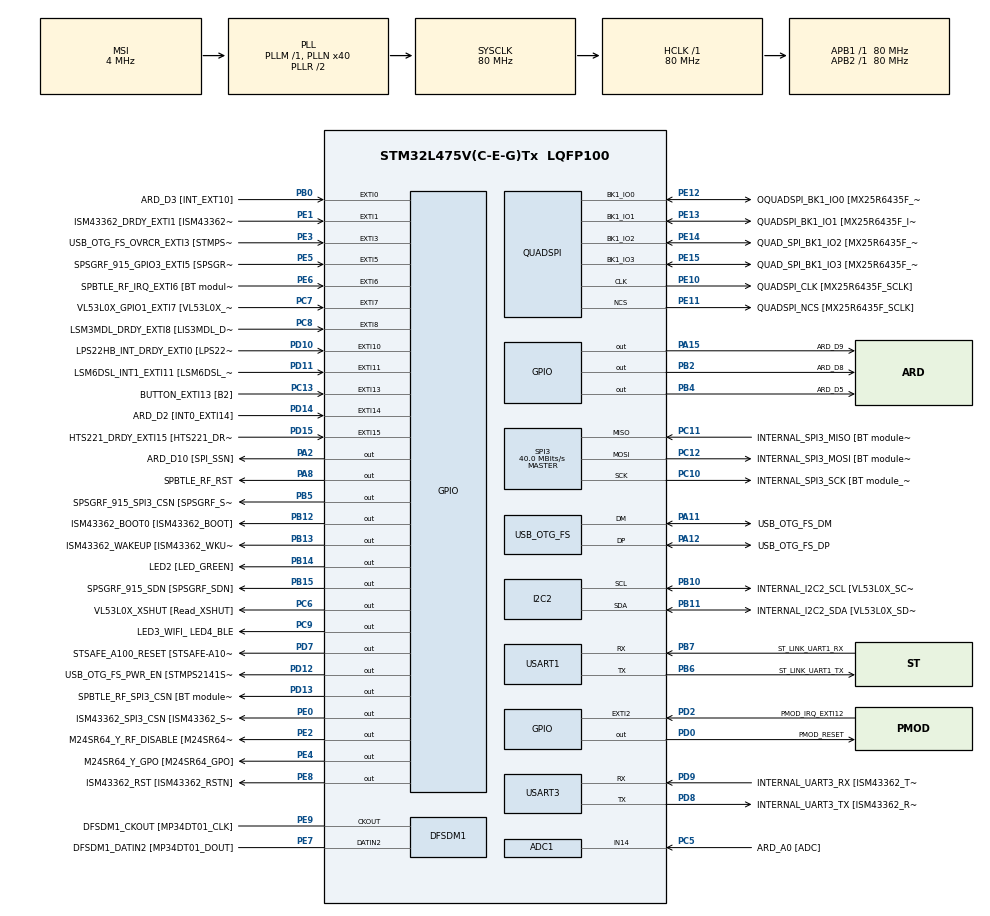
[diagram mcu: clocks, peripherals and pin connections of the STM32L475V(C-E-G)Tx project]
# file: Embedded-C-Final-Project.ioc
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ADC1.Channel-0\#ChannelRegularConversion=ADC_CHANNEL_14
ADC1.NbrOfConversionFlag=1
ADC1.OffsetNumber-0\#ChannelRegularConversion=ADC_OFFSET_NONE
ADC1.Rank-0\#ChannelRegularConversion=1
ADC1.SamplingTime-0\#ChannelRegularConversion=ADC_SAMPLETIME_2CYCLES_5
ADC1.master=1
Dma.I2C2_RX.0.Direction=DMA_PERIPH_TO_MEMORY
Dma.I2C2_RX.0.Instance=DMA1_Channel5
Dma.I2C2_RX.0.MemDataAlignment=DMA_MDATAALIGN_BYTE
Dma.I2C2_RX.0.MemInc=DMA_MINC_ENABLE
Dma.I2C2_RX.0.Mode=DMA_NORMAL
Dma.I2C2_RX.0.PeriphDataAlignment=DMA_PDATAALIGN_BYTE
Dma.I2C2_RX.0.PeriphInc=DMA_PINC_DISABLE
Dma.I2C2_RX.0.Priority=DMA_PRIORITY_LOW
Dma.I2C2_TX.1.Direction=DMA_MEMORY_TO_PERIPH
Dma.I2C2_TX.1.Instance=DMA1_Channel4
Dma.I2C2_TX.1.MemDataAlignment=DMA_MDATAALIGN_BYTE
Dma.I2C2_TX.1.MemInc=DMA_MINC_ENABLE
Dma.I2C2_TX.1.Mode=DMA_NORMAL
Dma.I2C2_TX.1.PeriphDataAlignment=DMA_PDATAALIGN_BYTE
Dma.I2C2_TX.1.PeriphInc=DMA_PINC_DISABLE
Dma.I2C2_TX.1.Priority=DMA_PRIORITY_LOW
Dma.Request0=I2C2_RX
Dma.Request1=I2C2_TX
I2C2.Timing=0x10909CEC
Mcu.Family=STM32L4
Mcu.Name=STM32L475V(C-E-G)Tx
Mcu.Package=LQFP100
NVIC.ADC1_2_IRQn=true\:0\:0\:false\:false\:true\:true\:true\:true
NVIC.DMA1_Channel4_IRQn=true\:0\:0\:false\:false\:true\:false\:true\:true
NVIC.DMA1_Channel5_IRQn=true\:0\:0\:false\:false\:true\:false\:true\:true
NVIC.EXTI15_10_IRQn=true\:0\:0\:false\:false\:true\:true\:true\:true
NVIC.EXTI9_5_IRQn=true\:0\:0\:false\:false\:true\:true\:true\:true
NVIC.I2C2_EV_IRQn=true\:0\:0\:false\:false\:true\:true\:true\:true
NVIC.PriorityGroup=NVIC_PRIORITYGROUP_4
PA0.GPIO_Label=ARD_D1 [UART4_TX]
PA0.Signal=UART4_TX
PA1.GPIO_Label=ARD_D0 [UART4_RX]
PA1.Signal=UART4_RX
PA10.GPIO_Label=USB_OTG_FS_ID
PA10.Signal=USB_OTG_FS_ID
PA11.GPIO_Label=USB_OTG_FS_DM
PA11.Mode=Device_Only
PA11.Signal=USB_OTG_FS_DM
PA12.GPIO_Label=USB_OTG_FS_DP
PA12.Mode=Device_Only
PA12.Signal=USB_OTG_FS_DP
PA13\ (JTMS-SWDIO).GPIO_Label=SYS_JTMS_SWDIO
PA13\ (JTMS-SWDIO).Mode=Serial_Wire
PA13\ (JTMS-SWDIO).Signal=SYS_JTMS-SWDIO
PA14\ (JTCK-SWCLK).GPIO_Label=SYS_JTCK_SWCLK
PA14\ (JTCK-SWCLK).Mode=Serial_Wire
PA14\ (JTCK-SWCLK).Signal=SYS_JTCK-SWCLK
PA15\ (JTDI).GPIO_Label=ARD_D9
PA15\ (JTDI).Signal=GPIO_Output
PA2.GPIO_Label=ARD_D10 [SPI_SSN]
PA2.Signal=GPIO_Output
PA3.GPIO_Label=ARD_D4
PA3.Signal=S_TIM2_CH4
PA4.GPIO_Label=ARD_D7
PA4.Signal=ADCx_IN9
PA5.GPIO_Label=ARD_D13 [SPI1_SCK]
PA5.Signal=SPI1_SCK
PA6.GPIO_Label=ARD_D12 [SPI1_MISO]
PA6.Signal=SPI1_MISO
PA7.GPIO_Label=ARD_D11 [SPI1_MOSI]
PA7.Signal=SPI1_MOSI
PA8.GPIO_Label=SPBTLE_RF_RST
PA8.Signal=GPIO_Output
PA9.GPIO_Label=USB_OTG_FS_VBUS [STMPS2141STR_OUT]
PA9.Signal=USB_OTG_FS_VBUS
PB0.GPIO_Label=ARD_D3 [INT_EXT10]
PB0.Signal=GPXTI0
PB1.GPIO_Label=ARD_D6 [ADC1_IN6]
PB1.Signal=ADCx_IN16
PB10.GPIO_Label=INTERNAL_I2C2_SCL [VL53L0X_SCL]
PB10.GPIO_Pu=GPIO_PULLUP
PB10.Mode=I2C
PB10.Signal=I2C2_SCL
PB11.GPIO_Label=INTERNAL_I2C2_SDA [VL53L0X_SDA]
PB11.GPIO_Pu=GPIO_PULLUP
PB11.Mode=I2C
PB11.Signal=I2C2_SDA
PB12.GPIO_Label=ISM43362_BOOT0 [ISM43362_BOOT]
PB12.Signal=GPIO_Output
PB13.GPIO_Label=ISM43362_WAKEUP [ISM43362_WKUP]
PB13.Signal=GPIO_Output
PB14.GPIO_Label=LED2 [LED_GREEN]
PB14.Signal=GPIO_Output
PB15.GPIO_Label=SPSGRF_915_SDN [SPSGRF_SDN]
PB15.Signal=GPIO_Output
PB2.GPIO_Label=ARD_D8
PB2.Signal=GPIO_Output
PB3\ (JTDO-TRACESWO).GPIO_Label=SYS_JTD0_SWO
PB3\ (JTDO-TRACESWO).Signal=SYS_JTDO-SWO
PB4\ (NJTRST).GPIO_Label=ARD_D5
PB4\ (NJTRST).Signal=GPIO_Output
PB5.GPIO_Label=SPSGRF_915_SPI3_CSN [SPSGRF_SPI_CS]
PB5.PinState=GPIO_PIN_SET
PB5.Signal=GPIO_Output
PB6.GPIO_Label=ST_LINK_UART1_TX
PB6.Mode=Asynchronous
PB6.Signal=USART1_TX
PB7.GPIO_Label=ST_LINK_UART1_RX
PB7.Mode=Asynchronous
PB7.Signal=USART1_RX
PB8.GPIO_Label=ARD_D15 [I2C1_SCL]
PB8.Signal=I2C1_SCL
PB9.GPIO_Label=ARD_D14 [I2C1_SDA]
PB9.Signal=I2C1_SDA
PC0.GPIO_Label=ARD_A5 [ADC]
PC0.Signal=ADCx_IN1
PC1.GPIO_Label=ARD_A4 [ADC]
PC1.Signal=ADCx_IN2
PC10.GPIO_Label=INTERNAL_SPI3_SCK [BT module_SPI_SCLK] [ISM43362_SCK]
PC10.Mode=Full_Duplex_Master
PC10.Signal=SPI3_SCK
PC11.GPIO_Label=INTERNAL_SPI3_MISO [BT module_SPI_MISO] [ISM43362_MISO]
PC11.Mode=Full_Duplex_Master
PC11.Signal=SPI3_MISO
PC12.GPIO_Label=INTERNAL_SPI3_MOSI [BT module_SPI_MOSI] [ISM43362_MOSI]
PC12.Mode=Full_Duplex_Master
PC12.Signal=SPI3_MOSI
PC13.GPIO_Label=BUTTON_EXTI13 [B2]
PC13.GPIO_ModeDefaultEXTI=GPIO_MODE_IT_FALLING
PC13.Signal=GPXTI13
PC14-OSC32_IN\ (PC14).Mode=LSE-External-Oscillator
PC14-OSC32_IN\ (PC14).Signal=RCC_OSC32_IN
PC15-OSC32_OUT\ (PC15).Mode=LSE-External-Oscillator
PC15-OSC32_OUT\ (PC15).Signal=RCC_OSC32_OUT
PC2.GPIO_Label=ARD_A3 [ADC]
PC2.Signal=ADCx_IN3
PC3.GPIO_Label=ARD_A2 [ADC]
PC3.Signal=ADCx_IN4
PC4.GPIO_Label=ARD_A1 [ADC]
PC4.Signal=ADCx_IN13
PC5.GPIO_Label=ARD_A0 [ADC]
PC5.Signal=ADCx_IN14
PC6.GPIO_Label=VL53L0X_XSHUT [Read_XSHUT]
PC6.Signal=GPIO_Output
PC7.GPIO_Label=VL53L0X_GPIO1_EXTI7 [VL53L0X_GPIO1]
PC7.Signal=GPXTI7
PC8.GPIO_Label=LSM3MDL_DRDY_EXTI8 [LIS3MDL_DRDY]
PC8.Signal=GPXTI8
PC9.GPIO_Label=LED3_WIFI_ LED4_BLE
PC9.Signal=GPIO_Output
PD0.GPIO_Label=PMOD_RESET
PD0.Signal=GPIO_Output
PD1.GPIO_Label=PMOD_SPI2_SCK
PD1.Signal=SPI2_SCK
PD10.GPIO_Label=LPS22HB_INT_DRDY_EXTI0 [LPS22HB_INT_DRDY] 
PD10.Signal=GPXTI10
PD11.GPIO_Label=LSM6DSL_INT1_EXTI11 [LSM6DSL_INT1]
PD11.Signal=GPXTI11
PD12.GPIO_Label=USB_OTG_FS_PWR_EN [STMPS2141STR_EN]
PD12.Signal=GPIO_Output
PD13.GPIO_Label=SPBTLE_RF_SPI3_CSN [BT module_SPI_CS]
PD13.PinState=GPIO_PIN_SET
PD13.Signal=GPIO_Output
PD14.GPIO_Label=ARD_D2 [INT0_EXTI14]
PD14.Signal=GPXTI14
PD15.GPIO_Label=HTS221_DRDY_EXTI15 [HTS221_DRDY]
PD15.Signal=GPXTI15
PD2.GPIO_Label=PMOD_IRQ_EXTI12
PD2.Signal=GPXTI2
PD3.GPIO_Label=PMOD_UART2_CTS
PD3.Signal=USART2_CTS
PD4.GPIO_Label=PMOD_UART2_RTS
PD4.Signal=USART2_RTS
PD5.GPIO_Label=PMOD_UART2_TX
PD5.Signal=USART2_TX
PD6.GPIO_Label=PMOD_UART2_RX
PD6.Signal=USART2_RX
PD7.GPIO_Label=STSAFE_A100_RESET [STSAFE-A100_RESET]
PD7.Signal=GPIO_Output
PD8.GPIO_Label=INTERNAL_UART3_TX [ISM43362_RX]
PD8.Mode=Asynchronous
PD8.Signal=USART3_TX
PD9.GPIO_Label=INTERNAL_UART3_RX [ISM43362_TX]
PD9.Mode=Asynchronous
PD9.Signal=USART3_RX
PE0.GPIO_Label=ISM43362_SPI3_CSN [ISM43362_SSN]
PE0.PinState=GPIO_PIN_SET
PE0.Signal=GPIO_Output
PE1.GPIO_Label=ISM43362_DRDY_EXTI1 [ISM43362_DATARDY]
PE1.Signal=GPXTI1
PE10.GPIO_Label=QUADSPI_CLK [MX25R6435F_SCLK]
PE10.Mode=Single Bank
PE10.Signal=QUADSPI_CLK
PE11.GPIO_Label=QUADSPI_NCS [MX25R6435F_SCLK]
PE11.Mode=Single Bank
PE11.Signal=QUADSPI_NCS
PE12.GPIO_Label=OQUADSPI_BK1_IO0 [MX25R6435F_IO0]
PE12.Mode=Single Bank
PE12.Signal=QUADSPI_BK1_IO0
PE13.GPIO_Label=QUADSPI_BK1_IO1 [MX25R6435F_IO1]
PE13.Mode=Single Bank
PE13.Signal=QUADSPI_BK1_IO1
PE14.GPIO_Label=QUAD_SPI_BK1_IO2 [MX25R6435F_IO2]
PE14.Mode=Single Bank
PE14.Signal=QUADSPI_BK1_IO2
PE15.GPIO_Label=QUAD_SPI_BK1_IO3 [MX25R6435F_IO3]
PE15.Mode=Single Bank
PE15.Signal=QUADSPI_BK1_IO3
PE2.GPIO_Label=M24SR64_Y_RF_DISABLE [M24SR64_RFDIS]
PE2.Signal=GPIO_Output
PE3.GPIO_Label=USB_OTG_FS_OVRCR_EXTI3 [STMPS2141STR_FAULT]
PE3.Signal=GPXTI3
PE4.GPIO_Label=M24SR64_Y_GPO [M24SR64_GPO]
PE4.Signal=GPIO_Output
PE5.GPIO_Label=SPSGRF_915_GPIO3_EXTI5 [SPSGRF_GPIO_3]
PE5.Signal=GPXTI5
PE6.GPIO_Label=SPBTLE_RF_IRQ_EXTI6 [BT module_SPI_IRQ]
PE6.Signal=GPXTI6
PE7.GPIO_Label=DFSDM1_DATIN2 [MP34DT01_DOUT]
PE7.Signal=S_DATAIN2DFSDM1
PE8.GPIO_Label=ISM43362_RST [ISM43362_RSTN]
PE8.Signal=GPIO_Output
PE9.GPIO_Label=DFSDM1_CKOUT [MP34DT01_CLK]
PE9.Signal=S_CKOUTDFSDM1
ProjectManager.HeapSize=0x200
ProjectManager.StackSize=0x400
ProjectManager.TargetToolchain=STM32CubeIDE
QUADSPI.ClockPrescaler=2
QUADSPI.FifoThreshold=4
QUADSPI.FlashSize=23
QUADSPI.SampleShifting=QSPI_SAMPLE_SHIFTING_HALFCYCLE
RCC.ADCFreq_Value=48000000
RCC.AHBFreq_Value=80000000
RCC.APB1Freq_Value=80000000
RCC.APB1TimFreq_Value=80000000
RCC.APB2Freq_Value=80000000
RCC.APB2TimFreq_Value=80000000
RCC.CortexFreq_Value=80000000
RCC.HCLKFreq_Value=80000000
RCC.HSE_VALUE=8000000
RCC.HSI_VALUE=16000000
RCC.MSI_VALUE=4000000
RCC.PLLN=40
RCC.PLLSAI1N=24
RCC.SYSCLKFreq_VALUE=80000000
RCC.SYSCLKSource=RCC_SYSCLKSOURCE_PLLCLK
RCC.USBFreq_Value=48000000
RCC.VCOOutputFreq_Value=160000000
SH.ADCx_IN1.0=ADC1_IN1
SH.ADCx_IN13.0=ADC1_IN13
SH.ADCx_IN14.0=ADC1_IN14,IN14-Single-Ended
SH.ADCx_IN16.0=ADC1_IN16
SH.ADCx_IN2.0=ADC1_IN2
SH.ADCx_IN3.0=ADC1_IN3
SH.ADCx_IN4.0=ADC1_IN4
SH.ADCx_IN9.0=ADC1_IN9
SH.S_CKOUTDFSDM1.0=DFSDM1_CKOUT,CKOUT
SH.S_CKOUTDFSDM1.1=DFSDM1_CKOUT,PDM_SPI_Input_from_ch12_and_Internal_Clock
SH.S_DATAIN2DFSDM1.0=DFSDM1_DATIN2,PDM_SPI_Input_from_ch12_and_Internal_Clock
SH.S_TIM2_CH4.0=TIM2_CH4
SPI3.CalculateBaudRate=40.0 MBits/s
SPI3.Direction=SPI_DIRECTION_2LINES
SPI3.Mode=SPI_MODE_MASTER
SPI3.VirtualType=VM_MASTER
USART1.VirtualMode-Asynchronous=VM_ASYNC
USART3.VirtualMode-Asynchronous=VM_ASYNC
USB_OTG_FS.VirtualMode=Device_Only
board=B-L475E-IOT01A2

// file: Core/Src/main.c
/* USER CODE BEGIN Header */
/**
  ******************************************************************************
  * @file           : main.c
  * @brief          : Main program body
  ******************************************************************************
  * @attention
  *
  * Copyright (c) 2023 STMicroelectronics.
  * All rights reserved.
  *
  * This software is licensed under terms that can be found in the LICENSE file
  * in the root directory of this software component.
  * If no LICENSE file comes with this software, it is provided AS-IS.
  *
  ******************************************************************************
  */
/* USER CODE END Header */
#include "main.h"

/* USER CODE BEGIN Includes */
#include <string.h>
#include <stdio.h>
/* USER CODE END Includes */

ADC_HandleTypeDef hadc1;

DFSDM_Channel_HandleTypeDef hdfsdm1_channel1;

I2C_HandleTypeDef hi2c2;
DMA_HandleTypeDef hdma_i2c2_rx;
DMA_HandleTypeDef hdma_i2c2_tx;

QSPI_HandleTypeDef hqspi;

SPI_HandleTypeDef hspi3;

UART_HandleTypeDef huart1;
UART_HandleTypeDef huart3;

PCD_HandleTypeDef hpcd_USB_OTG_FS;

void SystemClock_Config(void);
void PeriphCommonClock_Config(void);
static void MX_GPIO_Init(void);
static void MX_DMA_Init(void);
static void MX_DFSDM1_Init(void);
static void MX_I2C2_Init(void);
static void MX_QUADSPI_Init(void);
static void MX_SPI3_Init(void);
static void MX_USART1_UART_Init(void);
static void MX_USART3_UART_Init(void);
static void MX_USB_OTG_FS_PCD_Init(void);
static void MX_ADC1_Init(void);

/* USER CODE BEGIN 0 */
#define HST221_READ_ADDRESS 		0xbf
#define HST221_WRITE_ADDRESS 		0xbe

static uint8_t irq_complete = 0;
static uint8_t adc_irq_complete = 0;
static uint8_t status_flag = 0;
static uint16_t data = 0;
static uint8_t status_data = 0;

uint16_t find_max(uint16_t arr[], uint8_t size)
{
	int max = arr[0];
	for(int i = 0; i < size; i++){
		if(arr[i] > max){
			max = arr[i];
		}
	}
	return max;
}

uint16_t find_min(uint16_t arr[], uint8_t size)
{
	int min = arr[0];
	for(int i = 0; i < size; i++){
		if(arr[i] < min){
			min = arr[i];
		}
	}
	return min;
}

void do_who_am_i()
{
	// Step 1. send sub address
	// Write sub address
	uint8_t who_am_i = 0xf; // WHO_AM_I register
	HAL_StatusTypeDef status;
	status = HAL_I2C_Master_Transmit(&hi2c2, HST221_WRITE_ADDRESS, &who_am_i, sizeof(who_am_i), 1000);

	char buf[100];
	snprintf(buf, sizeof(buf), "HAL_I2C_Master_Transmit: status: %u\r\n", status);
	HAL_UART_Transmit(&huart1, (uint8_t*)buf, strlen(buf), 1000);

	// Step 2. read from address to get WHO_AM_I
	uint8_t data = 0x42;
	status = HAL_I2C_Master_Receive(&hi2c2, HST221_READ_ADDRESS, &data, sizeof(data), 1000);

	snprintf(buf, sizeof(buf), "HAL_I2C_Master_Receive: status: %u, data: 0x%x\r\n", status, data);
	HAL_UART_Transmit(&huart1, (uint8_t*)buf, strlen(buf), 1000);

}

void do_temp_polled()
{
	// Setup control register 1
	uint8_t control_reg1 = 0x20;
	uint8_t control_data1[] = {control_reg1, 0x85}; // output registers not updated until MSB and LSB reading, 1 Hz
	HAL_StatusTypeDef status;
	status = HAL_I2C_Master_Transmit(&hi2c2, HST221_WRITE_ADDRESS, control_data1, sizeof(control_data1), 1000);

	// Start a conversion
	uint8_t control_reg2 = 0x21;
	uint8_t control_data2[] = {control_reg2, 0x01};
	status = HAL_I2C_Master_Transmit(&hi2c2, HST221_WRITE_ADDRESS, control_data2, sizeof(control_data2), 1000);

	char buf[100];
	snprintf(buf, sizeof(buf), "(One-shot enable) HAL_I2C_Master_Transmit: status: %u\r\n", status);
	HAL_UART_Transmit(&huart1, (uint8_t*)buf, strlen(buf), 1000);

	// Wait for conversion complete
	uint8_t status_reg = 0x27;
	uint8_t status_data = 0;
	int count = 0;
	while(count < 10)
	{
		// Send read status register sub command
		status = HAL_I2C_Master_Transmit(&hi2c2, HST221_WRITE_ADDRESS, &status_reg, sizeof(status_reg), 1000);
		snprintf(buf, sizeof(buf), "[%d] (status_reg) HAL_I2C_Master_Transmit: status: %u\r\n", count, status);
		HAL_UART_Transmit(&huart1, (uint8_t*)buf, strlen(buf), 1000);

		// Read conversion status
		status = HAL_I2C_Master_Receive(&hi2c2, HST221_READ_ADDRESS, (uint8_t*)&status_data, sizeof(status_data), 1000);
		snprintf(buf, sizeof(buf), "Status register: 0x%02x\r\n", status_data);
		HAL_UART_Transmit(&huart1, (uint8_t*)buf, strlen(buf), 1000);

		// Check for temperature conversion complete
		if(status_data & 0x1)
		{
			snprintf(buf, sizeof(buf), "New data available!\r\n");
			HAL_UART_Transmit(&huart1, (uint8_t*)buf, strlen(buf), 1000);
			break;
		}
		HAL_Delay(1000);
		count++;
	}

	// Toggle between normal poll and address increment poll
	static int toggle = 1;

	if(toggle)
	{
		toggle = 0;

		// Read temperature LSB
		uint8_t temperature_lsb = 0x2a;
		status = HAL_I2C_Master_Transmit(&hi2c2, HST221_WRITE_ADDRESS, &temperature_lsb, sizeof(temperature_lsb), 1000);
		snprintf(buf, sizeof(buf), "(LSB) HAL_I2C_Master_Transmit: status: %u\r\n", status);
		HAL_UART_Transmit(&huart1, (uint8_t*)buf, strlen(buf), 1000);

		uint8_t data_lsb = 0x42;
		status = HAL_I2C_Master_Receive(&hi2c2, HST221_READ_ADDRESS, (uint8_t*)&data_lsb, sizeof(data_lsb), 1000);
		snprintf(buf, sizeof(buf), "(LSB) HAL_I2C_Master_Receive: status: %u, data_lsb: 0x%02x\r\n", status, data_lsb);
		HAL_UART_Transmit(&huart1, (uint8_t*)buf, strlen(buf), 1000);

		// Read temperature MSB
		uint8_t temperature_msb = 0x2b;
		status = HAL_I2C_Master_Transmit(&hi2c2, HST221_WRITE_ADDRESS, &temperature_msb, sizeof(temperature_msb), 1000);
		snprintf(buf, sizeof(buf), "(MSB) HAL_I2C_Master_Transmit: status: %u\r\n", status);
		HAL_UART_Transmit(&huart1, (uint8_t*)buf, strlen(buf), 1000);

		uint8_t data_msb = 0x42;
		status = HAL_I2C_Master_Receive(&hi2c2, HST221_READ_ADDRESS, (uint8_t*)&data_msb, sizeof(data_msb), 1000);
		snprintf(buf, sizeof(buf), "(MSB) HAL_I2C_Master_Receive: status: %u, data_msb: 0x%02x\r\n", status, data_msb);
		HAL_UART_Transmit(&huart1, (uint8_t*)buf, strlen(buf), 1000);
	}
	else
	{
		toggle = 1;
		// Read using auto increment
		uint8_t temperature_lsb = 0x2a | 0x80;
		status = HAL_I2C_Master_Transmit(&hi2c2, HST221_WRITE_ADDRESS, &temperature_lsb, sizeof(temperature_lsb), 1000);
		snprintf(buf, sizeof(buf), "(Auto increment) HAL_I2C_Master_Transmit: status: %u\r\n", status);
		HAL_UART_Transmit(&huart1, (uint8_t*)buf, strlen(buf), 1000);

		uint16_t data = 0x4242;
		status = HAL_I2C_Master_Receive(&hi2c2, HST221_READ_ADDRESS, (uint8_t*)&data, sizeof(data), 1000);
		snprintf(buf, sizeof(buf), "(Auto increment) HAL_I2C_Master_Receive: status: %u, data_msb: 0x%04x\r\n", status, data);
		HAL_UART_Transmit(&huart1, (uint8_t*)buf, strlen(buf), 1000);
	}

}

void do_temp_interrupt()
{
	irq_complete = 0;
	char buf[100];
	// Setup control register 1
	uint8_t control_reg1 = 0x20;
	uint8_t control_data1[] = {control_reg1, 0x85}; // output registers not updated until MSB and LSB reading, 1 Hz
	HAL_StatusTypeDef status;
	status = HAL_I2C_Master_Transmit_IT(&hi2c2, HST221_WRITE_ADDRESS, control_data1, sizeof(control_data1));
	snprintf(buf, sizeof(buf), "(Control register 1) HAL_I2C_Master_Transmit_IT: status: %u\r\n", status);
	HAL_UART_Transmit(&huart1, (uint8_t*)buf, strlen(buf), 1000);
	while(0 == irq_complete)
	{
		HAL_Delay(1000);
	}

	irq_complete = 0;
	// Start a conversion but interrupt driven
	int control_reg2 = 0x21;
	uint8_t control_data2[] = {control_reg2, 0x01}; // One-shot enable
	status = HAL_I2C_Master_Transmit_IT(&hi2c2, HST221_WRITE_ADDRESS, control_data2, sizeof(control_data2));
	snprintf(buf, sizeof(buf), "(One-shot Enable) HAL_I2C_Master_Transmit_IT: status: %u\r\n", status);
	HAL_UART_Transmit(&huart1, (uint8_t*)buf, strlen(buf), 1000);
	while(0 == irq_complete)
	{
		HAL_Delay(1000);
	}

	irq_complete = 0;
	// Wait for conversion complete
	uint8_t status_reg = 0x27;
	int count = 0;
	while(count < 10)
	{
		// Send read status register sub command
		status = HAL_I2C_Master_Transmit_IT(&hi2c2, HST221_WRITE_ADDRESS, &status_reg, sizeof(status_reg));
		snprintf(buf, sizeof(buf), "[%d] (status_reg) HAL_I2C_Master_Transmit_IT: status: %u\r\n", count, status);
		HAL_UART_Transmit(&huart1, (uint8_t*)buf, strlen(buf), 1000);
		while(0 == irq_complete)
		{
			HAL_Delay(1000);
		}

		irq_complete = 0;
		status_flag = 1;
		// Read conversion status
		status = HAL_I2C_Master_Receive_IT(&hi2c2, HST221_READ_ADDRESS, (uint8_t*)&status_data, sizeof(status_data));
		while(0 == irq_complete)
		{
			HAL_Delay(1000);
		}

		// Check for temperature conversion complete
		if(status_data & 0x1)
		{
			snprintf(buf, sizeof(buf), "New data available!\r\n");
			HAL_UART_Transmit(&huart1, (uint8_t*)buf, strlen(buf), 1000);
			break;
		}
		HAL_Delay(1000);
		count++;
	}

	irq_complete = 0;
	// Read using auto increment
	uint8_t temperature_lsb = 0x2a | 0x80;
	status = HAL_I2C_Master_Transmit_IT(&hi2c2, HST221_WRITE_ADDRESS, &temperature_lsb, sizeof(temperature_lsb));
	snprintf(buf, sizeof(buf), "(Auto increment) HAL_I2C_Master_Transmit_IT: status: %u\r\n", status);
	HAL_UART_Transmit(&huart1, (uint8_t*)buf, strlen(buf), 1000);
	while(0 == irq_complete)
	{
		HAL_Delay(1000);
	}

	irq_complete = 0;
	// Receive using interrupt
	status = HAL_I2C_Master_Receive_IT(&hi2c2, HST221_READ_ADDRESS, (uint8_t*)&data, sizeof(data));
	while(0 == irq_complete)
	{
		HAL_Delay(1000);
	}
	snprintf(buf, sizeof(buf), "(Auto increment) HAL_I2C_Master_Receive_IT: status: %u\r\n", status);
	HAL_UART_Transmit(&huart1, (uint8_t*)buf, strlen(buf), 1000);
}

void do_temp_dma()
{
	irq_complete = 0;
	char buf[100];
	// Setup control register 1
	uint8_t control_reg1 = 0x20;
	uint8_t control_data1[] = {control_reg1, 0x85}; // output registers not updated until MSB and LSB reading, 1 Hz
	HAL_StatusTypeDef status;
	status = HAL_I2C_Master_Transmit_DMA(&hi2c2, HST221_WRITE_ADDRESS, control_data1, sizeof(control_data1));
	snprintf(buf, sizeof(buf), "(Control register 1) HAL_I2C_Master_Transmit_DMA: status: %u\r\n", status);
	HAL_UART_Transmit(&huart1, (uint8_t*)buf, strlen(buf), 1000);
	while(0 == irq_complete)
	{
		HAL_Delay(1000);
	}

	irq_complete = 0;
	// Start a conversion but interrupt driven
	int control_reg2 = 0x21;
	uint8_t control_data2[] = {control_reg2, 0x01}; // One-shot enable
	status = HAL_I2C_Master_Transmit_DMA(&hi2c2, HST221_WRITE_ADDRESS, control_data2, sizeof(control_data2));
	snprintf(buf, sizeof(buf), "(One-shot Enable) HAL_I2C_Master_Transmit_DMA: status: %u\r\n", status);
	HAL_UART_Transmit(&huart1, (uint8_t*)buf, strlen(buf), 1000);
	while(0 == irq_complete)
	{
		HAL_Delay(1000);
	}
	irq_complete = 0;
	// Wait for conversion complete
	uint8_t status_reg = 0x27;
	int count = 0;
	while(count < 10)
	{
		// Send read status register sub command
		status = HAL_I2C_Master_Transmit_DMA(&hi2c2, HST221_WRITE_ADDRESS, &status_reg, sizeof(status_reg));
		snprintf(buf, sizeof(buf), "[%d] (status_reg) HAL_I2C_Master_Transmit_DMA: status: %u\r\n", count, status);
		HAL_UART_Transmit(&huart1, (uint8_t*)buf, strlen(buf), 1000);
		while(0 == irq_complete)
		{
			HAL_Delay(1000);
		}

		irq_complete = 0;
		status_flag = 1;
		// Read conversion status
		status = HAL_I2C_Master_Receive_DMA(&hi2c2, HST221_READ_ADDRESS, (uint8_t*)&status_data, sizeof(status_data));
		while(0 == irq_complete)
		{
			HAL_Delay(1000);
		}

		// Check for temperature conversion complete
		if(status_data & 0x1)
		{
			snprintf(buf, sizeof(buf), "New data available!\r\n");
			HAL_UART_Transmit(&huart1, (uint8_t*)buf, strlen(buf), 1000);
			break;
		}
		HAL_Delay(1000);
		count++;
	}
	irq_complete = 0;
	// Read using auto increment
	uint8_t temperature_lsb = 0x2a | 0x80;
	status = HAL_I2C_Master_Transmit_DMA(&hi2c2, HST221_WRITE_ADDRESS, &temperature_lsb, sizeof(temperature_lsb));
	snprintf(buf, sizeof(buf), "(Auto increment) HAL_I2C_Master_Transmit_DMA: status: %u\r\n", status);
	HAL_UART_Transmit(&huart1, (uint8_t*)buf, strlen(buf), 1000);
	while(0 == irq_complete)
	{
		HAL_Delay(1000);
	}
	irq_complete = 0;
	// Receive using interrupt
	status = HAL_I2C_Master_Receive_DMA(&hi2c2, HST221_READ_ADDRESS, (uint8_t*)&data, sizeof(data));
	while(0 == irq_complete)
	{
		HAL_Delay(1000);
	}
	snprintf(buf, sizeof(buf), "(Auto increment) HAL_I2C_Master_Receive_DMA: status: %u\r\n", status);
	HAL_UART_Transmit(&huart1, (uint8_t*)buf, strlen(buf), 1000);
}

void adc_polling_average()
{
	HAL_GPIO_TogglePin(LED3_WIFI__LED4_BLE_GPIO_Port, LED3_WIFI__LED4_BLE_Pin);
	HAL_Delay(1000);

	uint16_t value[12];
	uint16_t value_sum = 0;

	// Poll 12 times
	for(int i = 0; i < 12; i++)
	{
		// ADC start conversion
		HAL_ADC_Start(&hadc1);
		// Poll for results, timeout is 10 us
		HAL_ADC_PollForConversion(&hadc1, 10);
		value[i] = HAL_ADC_GetValue(&hadc1);
		value_sum += value[i];
	}

	// Sum of value array minus the max and min value
	float value_avg = (float)(value_sum - find_max(value, 12) - find_min(value, 12)) / 10;

	float voltage = value_avg * (3.3 / 4096);

	// Send value to console
	char buf[100];
    snprintf(buf, sizeof(buf), "ARD-A0: raw: %f, volts: %f\r\n", value_avg, voltage);

    HAL_UART_Transmit(&huart1, (uint8_t*)buf, strlen(buf), 1000);
}

void adc_interrupt()
{
	adc_irq_complete = 0;
	HAL_ADC_Start_IT(&hadc1);
	while(adc_irq_complete == 0){
		HAL_Delay(1000);
	}
	char buf[100];
    snprintf(buf, sizeof(buf), "ADC conversion interrupt mode done\r\n");
    HAL_UART_Transmit(&huart1, (uint8_t*)buf, strlen(buf), 1000);
}

/* USER CODE END 0 */

int main(void)
{

  /* MCU Configuration--------------------------------------------------------*/

  /* Reset of all peripherals, Initializes the Flash interface and the Systick. */
  HAL_Init();

  /* Configure the system clock */
  SystemClock_Config();

/* Configure the peripherals common clocks */
  PeriphCommonClock_Config();

  /* Initialize all configured peripherals */
  MX_GPIO_Init();
  MX_DMA_Init();
  MX_DFSDM1_Init();
  MX_I2C2_Init();
  MX_QUADSPI_Init();
  MX_SPI3_Init();
  MX_USART1_UART_Init();
  MX_USART3_UART_Init();
  MX_USB_OTG_FS_PCD_Init();
  MX_ADC1_Init();
  /* USER CODE BEGIN 2 */
  HAL_ADCEx_Calibration_Start(&hadc1, ADC_SINGLE_ENDED);
  /* USER CODE END 2 */

  /* Infinite loop */
  while (1)
  {

    /* USER CODE BEGIN 3 */
	// Issue command prompt
	char *prompt = "Options: 1=WHO_AM_I, 2=Temp(Polling), 3=Temp(Interrupt), 4=Temp(DMA), 5=ADC Reading(Polling), "
			"6=ADC Reading(Interrupt)\n\rcmd> ";
	HAL_UART_Transmit(&huart1, (uint8_t*)prompt, strlen(prompt), 1000);

	// Wait for a single number entry
	char ch;
	HAL_UART_Receive(&huart1, (uint8_t*)&ch, 1, HAL_MAX_DELAY);

	char *msg = "\r\n";
	HAL_UART_Transmit(&huart1, (uint8_t*)msg, strlen(msg), 1000);

	switch(ch)
	{
	case '1': do_who_am_i(); break;
	case '2': do_temp_polled(); break;
	case '3': do_temp_interrupt(); break;
	case '4': do_temp_dma(); break;
	case '5': adc_polling_average(); break;
	case '6': adc_interrupt(); break;
	// Fall through if none
	}
  }
  /* USER CODE END 3 */
}

void SystemClock_Config(void)
{
  RCC_OscInitTypeDef RCC_OscInitStruct = {0};
  RCC_ClkInitTypeDef RCC_ClkInitStruct = {0};

  /** Configure the main internal regulator output voltage
  */
  if (HAL_PWREx_ControlVoltageScaling(PWR_REGULATOR_VOLTAGE_SCALE1) != HAL_OK)
  {
    Error_Handler();
  }

  /** Configure LSE Drive Capability
  */
  HAL_PWR_EnableBkUpAccess();
  __HAL_RCC_LSEDRIVE_CONFIG(RCC_LSEDRIVE_LOW);

  /** Initializes the RCC Oscillators according to the specified parameters
  * in the RCC_OscInitTypeDef structure.
  */
  RCC_OscInitStruct.OscillatorType = RCC_OSCILLATORTYPE_LSE|RCC_OSCILLATORTYPE_MSI;
  RCC_OscInitStruct.LSEState = RCC_LSE_ON;
  RCC_OscInitStruct.MSIState = RCC_MSI_ON;
  RCC_OscInitStruct.MSICalibrationValue = 0;
  RCC_OscInitStruct.MSIClockRange = RCC_MSIRANGE_6;
  RCC_OscInitStruct.PLL.PLLState = RCC_PLL_ON;
  RCC_OscInitStruct.PLL.PLLSource = RCC_PLLSOURCE_MSI;
  RCC_OscInitStruct.PLL.PLLM = 1;
  RCC_OscInitStruct.PLL.PLLN = 40;
  RCC_OscInitStruct.PLL.PLLP = RCC_PLLP_DIV7;
  RCC_OscInitStruct.PLL.PLLQ = RCC_PLLQ_DIV2;
  RCC_OscInitStruct.PLL.PLLR = RCC_PLLR_DIV2;
  if (HAL_RCC_OscConfig(&RCC_OscInitStruct) != HAL_OK)
  {
    Error_Handler();
  }

  /** Initializes the CPU, AHB and APB buses clocks
  */
  RCC_ClkInitStruct.ClockType = RCC_CLOCKTYPE_HCLK|RCC_CLOCKTYPE_SYSCLK
                              |RCC_CLOCKTYPE_PCLK1|RCC_CLOCKTYPE_PCLK2;
  RCC_ClkInitStruct.SYSCLKSource = RCC_SYSCLKSOURCE_PLLCLK;
  RCC_ClkInitStruct.AHBCLKDivider = RCC_SYSCLK_DIV1;
  RCC_ClkInitStruct.APB1CLKDivider = RCC_HCLK_DIV1;
  RCC_ClkInitStruct.APB2CLKDivider = RCC_HCLK_DIV1;

  if (HAL_RCC_ClockConfig(&RCC_ClkInitStruct, FLASH_LATENCY_4) != HAL_OK)
  {
    Error_Handler();
  }

  /** Enable MSI Auto calibration
  */
  HAL_RCCEx_EnableMSIPLLMode();
}

void PeriphCommonClock_Config(void)
{
  RCC_PeriphCLKInitTypeDef PeriphClkInit = {0};

  /** Initializes the peripherals clock
  */
  PeriphClkInit.PeriphClockSelection = RCC_PERIPHCLK_USB|RCC_PERIPHCLK_ADC;
  PeriphClkInit.AdcClockSelection = RCC_ADCCLKSOURCE_PLLSAI1;
  PeriphClkInit.UsbClockSelection = RCC_USBCLKSOURCE_PLLSAI1;
  PeriphClkInit.PLLSAI1.PLLSAI1Source = RCC_PLLSOURCE_MSI;
  PeriphClkInit.PLLSAI1.PLLSAI1M = 1;
  PeriphClkInit.PLLSAI1.PLLSAI1N = 24;
  PeriphClkInit.PLLSAI1.PLLSAI1P = RCC_PLLP_DIV7;
  PeriphClkInit.PLLSAI1.PLLSAI1Q = RCC_PLLQ_DIV2;
  PeriphClkInit.PLLSAI1.PLLSAI1R = RCC_PLLR_DIV2;
  PeriphClkInit.PLLSAI1.PLLSAI1ClockOut = RCC_PLLSAI1_48M2CLK|RCC_PLLSAI1_ADC1CLK;
  if (HAL_RCCEx_PeriphCLKConfig(&PeriphClkInit) != HAL_OK)
  {
    Error_Handler();
  }
}

static void MX_ADC1_Init(void)
{

  ADC_MultiModeTypeDef multimode = {0};
  ADC_ChannelConfTypeDef sConfig = {0};

  /** Common config
  */
  hadc1.Instance = ADC1;
  hadc1.Init.ClockPrescaler = ADC_CLOCK_ASYNC_DIV1;
  hadc1.Init.Resolution = ADC_RESOLUTION_12B;
  hadc1.Init.DataAlign = ADC_DATAALIGN_RIGHT;
  hadc1.Init.ScanConvMode = ADC_SCAN_DISABLE;
  hadc1.Init.EOCSelection = ADC_EOC_SINGLE_CONV;
  hadc1.Init.LowPowerAutoWait = DISABLE;
  hadc1.Init.ContinuousConvMode = DISABLE;
  hadc1.Init.NbrOfConversion = 1;
  hadc1.Init.DiscontinuousConvMode = DISABLE;
  hadc1.Init.ExternalTrigConv = ADC_SOFTWARE_START;
  hadc1.Init.ExternalTrigConvEdge = ADC_EXTERNALTRIGCONVEDGE_NONE;
  hadc1.Init.DMAContinuousRequests = DISABLE;
  hadc1.Init.Overrun = ADC_OVR_DATA_PRESERVED;
  hadc1.Init.OversamplingMode = DISABLE;
  if (HAL_ADC_Init(&hadc1) != HAL_OK)
  {
    Error_Handler();
  }

  /** Configure the ADC multi-mode
  */
  multimode.Mode = ADC_MODE_INDEPENDENT;
  if (HAL_ADCEx_MultiModeConfigChannel(&hadc1, &multimode) != HAL_OK)
  {
    Error_Handler();
  }

  /** Configure Regular Channel
  */
  sConfig.Channel = ADC_CHANNEL_14;
  sConfig.Rank = ADC_REGULAR_RANK_1;
  sConfig.SamplingTime = ADC_SAMPLETIME_2CYCLES_5;
  sConfig.SingleDiff = ADC_SINGLE_ENDED;
  sConfig.OffsetNumber = ADC_OFFSET_NONE;
  sConfig.Offset = 0;
  if (HAL_ADC_ConfigChannel(&hadc1, &sConfig) != HAL_OK)
  {
    Error_Handler();
  }

}

static void MX_DFSDM1_Init(void)
{

  hdfsdm1_channel1.Instance = DFSDM1_Channel1;
  hdfsdm1_channel1.Init.OutputClock.Activation = ENABLE;
  hdfsdm1_channel1.Init.OutputClock.Selection = DFSDM_CHANNEL_OUTPUT_CLOCK_SYSTEM;
  hdfsdm1_channel1.Init.OutputClock.Divider = 2;
  hdfsdm1_channel1.Init.Input.Multiplexer = DFSDM_CHANNEL_EXTERNAL_INPUTS;
  hdfsdm1_channel1.Init.Input.DataPacking = DFSDM_CHANNEL_STANDARD_MODE;
  hdfsdm1_channel1.Init.Input.Pins = DFSDM_CHANNEL_FOLLOWING_CHANNEL_PINS;
  hdfsdm1_channel1.Init.SerialInterface.Type = DFSDM_CHANNEL_SPI_RISING;
  hdfsdm1_channel1.Init.SerialInterface.SpiClock = DFSDM_CHANNEL_SPI_CLOCK_INTERNAL;
  hdfsdm1_channel1.Init.Awd.FilterOrder = DFSDM_CHANNEL_FASTSINC_ORDER;
  hdfsdm1_channel1.Init.Awd.Oversampling = 1;
  hdfsdm1_channel1.Init.Offset = 0;
  hdfsdm1_channel1.Init.RightBitShift = 0x00;
  if (HAL_DFSDM_ChannelInit(&hdfsdm1_channel1) != HAL_OK)
  {
    Error_Handler();
  }

}

static void MX_I2C2_Init(void)
{

  hi2c2.Instance = I2C2;
  hi2c2.Init.Timing = 0x10909CEC;
  hi2c2.Init.OwnAddress1 = 0;
  hi2c2.Init.AddressingMode = I2C_ADDRESSINGMODE_7BIT;
  hi2c2.Init.DualAddressMode = I2C_DUALADDRESS_DISABLE;
  hi2c2.Init.OwnAddress2 = 0;
  hi2c2.Init.OwnAddress2Masks = I2C_OA2_NOMASK;
  hi2c2.Init.GeneralCallMode = I2C_GENERALCALL_DISABLE;
  hi2c2.Init.NoStretchMode = I2C_NOSTRETCH_DISABLE;
  if (HAL_I2C_Init(&hi2c2) != HAL_OK)
  {
    Error_Handler();
  }

  /** Configure Analogue filter
  */
  if (HAL_I2CEx_ConfigAnalogFilter(&hi2c2, I2C_ANALOGFILTER_ENABLE) != HAL_OK)
  {
    Error_Handler();
  }

  /** Configure Digital filter
  */
  if (HAL_I2CEx_ConfigDigitalFilter(&hi2c2, 0) != HAL_OK)
  {
    Error_Handler();
  }

}

static void MX_QUADSPI_Init(void)
{

  /* QUADSPI parameter configuration*/
  hqspi.Instance = QUADSPI;
  hqspi.Init.ClockPrescaler = 2;
  hqspi.Init.FifoThreshold = 4;
  hqspi.Init.SampleShifting = QSPI_SAMPLE_SHIFTING_HALFCYCLE;
  hqspi.Init.FlashSize = 23;
  hqspi.Init.ChipSelectHighTime = QSPI_CS_HIGH_TIME_1_CYCLE;
  hqspi.Init.ClockMode = QSPI_CLOCK_MODE_0;
  if (HAL_QSPI_Init(&hqspi) != HAL_OK)
  {
    Error_Handler();
  }

}

static void MX_SPI3_Init(void)
{

  /* SPI3 parameter configuration*/
  hspi3.Instance = SPI3;
  hspi3.Init.Mode = SPI_MODE_MASTER;
  hspi3.Init.Direction = SPI_DIRECTION_2LINES;
  hspi3.Init.DataSize = SPI_DATASIZE_4BIT;
  hspi3.Init.CLKPolarity = SPI_POLARITY_LOW;
  hspi3.Init.CLKPhase = SPI_PHASE_1EDGE;
  hspi3.Init.NSS = SPI_NSS_SOFT;
  hspi3.Init.BaudRatePrescaler = SPI_BAUDRATEPRESCALER_2;
  hspi3.Init.FirstBit = SPI_FIRSTBIT_MSB;
  hspi3.Init.TIMode = SPI_TIMODE_DISABLE;
  hspi3.Init.CRCCalculation = SPI_CRCCALCULATION_DISABLE;
  hspi3.Init.CRCPolynomial = 7;
  hspi3.Init.CRCLength = SPI_CRC_LENGTH_DATASIZE;
  hspi3.Init.NSSPMode = SPI_NSS_PULSE_ENABLE;
  if (HAL_SPI_Init(&hspi3) != HAL_OK)
  {
    Error_Handler();
  }

}

static void MX_USART1_UART_Init(void)
{

  huart1.Instance = USART1;
  huart1.Init.BaudRate = 115200;
  huart1.Init.WordLength = UART_WORDLENGTH_8B;
  huart1.Init.StopBits = UART_STOPBITS_1;
  huart1.Init.Parity = UART_PARITY_NONE;
  huart1.Init.Mode = UART_MODE_TX_RX;
  huart1.Init.HwFlowCtl = UART_HWCONTROL_NONE;
  huart1.Init.OverSampling = UART_OVERSAMPLING_16;
  huart1.Init.OneBitSampling = UART_ONE_BIT_SAMPLE_DISABLE;
  huart1.AdvancedInit.AdvFeatureInit = UART_ADVFEATURE_NO_INIT;
  if (HAL_UART_Init(&huart1) != HAL_OK)
  {
    Error_Handler();
  }

}

static void MX_USART3_UART_Init(void)
{

  huart3.Instance = USART3;
  huart3.Init.BaudRate = 115200;
  huart3.Init.WordLength = UART_WORDLENGTH_8B;
  huart3.Init.StopBits = UART_STOPBITS_1;
  huart3.Init.Parity = UART_PARITY_NONE;
  huart3.Init.Mode = UART_MODE_TX_RX;
  huart3.Init.HwFlowCtl = UART_HWCONTROL_NONE;
  huart3.Init.OverSampling = UART_OVERSAMPLING_16;
  huart3.Init.OneBitSampling = UART_ONE_BIT_SAMPLE_DISABLE;
  huart3.AdvancedInit.AdvFeatureInit = UART_ADVFEATURE_NO_INIT;
  if (HAL_UART_Init(&huart3) != HAL_OK)
  {
    Error_Handler();
  }

}

static void MX_USB_OTG_FS_PCD_Init(void)
{

  hpcd_USB_OTG_FS.Instance = USB_OTG_FS;
  hpcd_USB_OTG_FS.Init.dev_endpoints = 6;
  hpcd_USB_OTG_FS.Init.speed = PCD_SPEED_FULL;
  hpcd_USB_OTG_FS.Init.phy_itface = PCD_PHY_EMBEDDED;
  hpcd_USB_OTG_FS.Init.Sof_enable = DISABLE;
  hpcd_USB_OTG_FS.Init.low_power_enable = DISABLE;
  hpcd_USB_OTG_FS.Init.lpm_enable = DISABLE;
  hpcd_USB_OTG_FS.Init.battery_charging_enable = DISABLE;
  hpcd_USB_OTG_FS.Init.use_dedicated_ep1 = DISABLE;
  hpcd_USB_OTG_FS.Init.vbus_sensing_enable = DISABLE;
  if (HAL_PCD_Init(&hpcd_USB_OTG_FS) != HAL_OK)
  {
    Error_Handler();
  }

}

static void MX_DMA_Init(void)
{

  /* DMA controller clock enable */
  __HAL_RCC_DMA1_CLK_ENABLE();

  /* DMA interrupt init */
  /* DMA1_Channel4_IRQn interrupt configuration */
  HAL_NVIC_SetPriority(DMA1_Channel4_IRQn, 0, 0);
  HAL_NVIC_EnableIRQ(DMA1_Channel4_IRQn);
  /* DMA1_Channel5_IRQn interrupt configuration */
  HAL_NVIC_SetPriority(DMA1_Channel5_IRQn, 0, 0);
  HAL_NVIC_EnableIRQ(DMA1_Channel5_IRQn);

}

static void MX_GPIO_Init(void)
{
  GPIO_InitTypeDef GPIO_InitStruct = {0};

  /* GPIO Ports Clock Enable */
  __HAL_RCC_GPIOE_CLK_ENABLE();
  __HAL_RCC_GPIOC_CLK_ENABLE();
  __HAL_RCC_GPIOA_CLK_ENABLE();
  __HAL_RCC_GPIOB_CLK_ENABLE();
  __HAL_RCC_GPIOD_CLK_ENABLE();

  /*Configure GPIO pin Output Level */
  HAL_GPIO_WritePin(GPIOE, M24SR64_Y_RF_DISABLE_Pin|M24SR64_Y_GPO_Pin|ISM43362_RST_Pin, GPIO_PIN_RESET);

  /*Configure GPIO pin Output Level */
  HAL_GPIO_WritePin(GPIOA, ARD_D10_Pin|SPBTLE_RF_RST_Pin|ARD_D9_Pin, GPIO_PIN_RESET);

  /*Configure GPIO pin Output Level */
  HAL_GPIO_WritePin(GPIOB, ARD_D8_Pin|ISM43362_BOOT0_Pin|ISM43362_WAKEUP_Pin|LED2_Pin
                          |SPSGRF_915_SDN_Pin|ARD_D5_Pin, GPIO_PIN_RESET);

  /*Configure GPIO pin Output Level */
  HAL_GPIO_WritePin(GPIOD, USB_OTG_FS_PWR_EN_Pin|PMOD_RESET_Pin|STSAFE_A100_RESET_Pin, GPIO_PIN_RESET);

  /*Configure GPIO pin Output Level */
  HAL_GPIO_WritePin(SPBTLE_RF_SPI3_CSN_GPIO_Port, SPBTLE_RF_SPI3_CSN_Pin, GPIO_PIN_SET);

  /*Configure GPIO pin Output Level */
  HAL_GPIO_WritePin(GPIOC, VL53L0X_XSHUT_Pin|LED3_WIFI__LED4_BLE_Pin, GPIO_PIN_RESET);

  /*Configure GPIO pin Output Level */
  HAL_GPIO_WritePin(SPSGRF_915_SPI3_CSN_GPIO_Port, SPSGRF_915_SPI3_CSN_Pin, GPIO_PIN_SET);

  /*Configure GPIO pin Output Level */
  HAL_GPIO_WritePin(ISM43362_SPI3_CSN_GPIO_Port, ISM43362_SPI3_CSN_Pin, GPIO_PIN_SET);

  /*Configure GPIO pins : M24SR64_Y_RF_DISABLE_Pin M24SR64_Y_GPO_Pin ISM43362_RST_Pin ISM43362_SPI3_CSN_Pin */
  GPIO_InitStruct.Pin = M24SR64_Y_RF_DISABLE_Pin|M24SR64_Y_GPO_Pin|ISM43362_RST_Pin|ISM43362_SPI3_CSN_Pin;
  GPIO_InitStruct.Mode = GPIO_MODE_OUTPUT_PP;
  GPIO_InitStruct.Pull = GPIO_NOPULL;
  GPIO_InitStruct.Speed = GPIO_SPEED_FREQ_LOW;
  HAL_GPIO_Init(GPIOE, &GPIO_InitStruct);

  /*Configure GPIO pins : USB_OTG_FS_OVRCR_EXTI3_Pin SPSGRF_915_GPIO3_EXTI5_Pin SPBTLE_RF_IRQ_EXTI6_Pin ISM43362_DRDY_EXTI1_Pin */
  GPIO_InitStruct.Pin = USB_OTG_FS_OVRCR_EXTI3_Pin|SPSGRF_915_GPIO3_EXTI5_Pin|SPBTLE_RF_IRQ_EXTI6_Pin|ISM43362_DRDY_EXTI1_Pin;
  GPIO_InitStruct.Mode = GPIO_MODE_IT_RISING;
  GPIO_InitStruct.Pull = GPIO_NOPULL;
  HAL_GPIO_Init(GPIOE, &GPIO_InitStruct);

  /*Configure GPIO pin : BUTTON_EXTI13_Pin */
  GPIO_InitStruct.Pin = BUTTON_EXTI13_Pin;
  GPIO_InitStruct.Mode = GPIO_MODE_IT_FALLING;
  GPIO_InitStruct.Pull = GPIO_NOPULL;
  HAL_GPIO_Init(BUTTON_EXTI13_GPIO_Port, &GPIO_InitStruct);

  /*Configure GPIO pins : ARD_D1_Pin ARD_D0_Pin */
  GPIO_InitStruct.Pin = ARD_D1_Pin|ARD_D0_Pin;
  GPIO_InitStruct.Mode = GPIO_MODE_AF_PP;
  GPIO_InitStruct.Pull = GPIO_NOPULL;
  GPIO_InitStruct.Speed = GPIO_SPEED_FREQ_VERY_HIGH;
  GPIO_InitStruct.Alternate = GPIO_AF8_UART4;
  HAL_GPIO_Init(GPIOA, &GPIO_InitStruct);

  /*Configure GPIO pins : ARD_D10_Pin SPBTLE_RF_RST_Pin ARD_D9_Pin */
  GPIO_InitStruct.Pin = ARD_D10_Pin|SPBTLE_RF_RST_Pin|ARD_D9_Pin;
  GPIO_InitStruct.Mode = GPIO_MODE_OUTPUT_PP;
  GPIO_InitStruct.Pull = GPIO_NOPULL;
  GPIO_InitStruct.Speed = GPIO_SPEED_FREQ_LOW;
  HAL_GPIO_Init(GPIOA, &GPIO_InitStruct);

  /*Configure GPIO pin : ARD_D4_Pin */
  GPIO_InitStruct.Pin = ARD_D4_Pin;
  GPIO_InitStruct.Mode = GPIO_MODE_AF_PP;
  GPIO_InitStruct.Pull = GPIO_NOPULL;
  GPIO_InitStruct.Speed = GPIO_SPEED_FREQ_LOW;
  GPIO_InitStruct.Alternate = GPIO_AF1_TIM2;
  HAL_GPIO_Init(ARD_D4_GPIO_Port, &GPIO_InitStruct);

  /*Configure GPIO pins : ARD_D13_Pin ARD_D12_Pin ARD_D11_Pin */
  GPIO_InitStruct.Pin = ARD_D13_Pin|ARD_D12_Pin|ARD_D11_Pin;
  GPIO_InitStruct.Mode = GPIO_MODE_AF_PP;
  GPIO_InitStruct.Pull = GPIO_NOPULL;
  GPIO_InitStruct.Speed = GPIO_SPEED_FREQ_VERY_HIGH;
  GPIO_InitStruct.Alternate = GPIO_AF5_SPI1;
  HAL_GPIO_Init(GPIOA, &GPIO_InitStruct);

  /*Configure GPIO pin : ARD_D3_Pin */
  GPIO_InitStruct.Pin = ARD_D3_Pin;
  GPIO_InitStruct.Mode = GPIO_MODE_IT_RISING;
  GPIO_InitStruct.Pull = GPIO_NOPULL;
  HAL_GPIO_Init(ARD_D3_GPIO_Port, &GPIO_InitStruct);

  /*Configure GPIO pins : ARD_D8_Pin ISM43362_BOOT0_Pin ISM43362_WAKEUP_Pin LED2_Pin
                           SPSGRF_915_SDN_Pin ARD_D5_Pin SPSGRF_915_SPI3_CSN_Pin */
  GPIO_InitStruct.Pin = ARD_D8_Pin|ISM43362_BOOT0_Pin|ISM43362_WAKEUP_Pin|LED2_Pin
                          |SPSGRF_915_SDN_Pin|ARD_D5_Pin|SPSGRF_915_SPI3_CSN_Pin;
  GPIO_InitStruct.Mode = GPIO_MODE_OUTPUT_PP;
  GPIO_InitStruct.Pull = GPIO_NOPULL;
  GPIO_InitStruct.Speed = GPIO_SPEED_FREQ_LOW;
  HAL_GPIO_Init(GPIOB, &GPIO_InitStruct);

  /*Configure GPIO pins : LPS22HB_INT_DRDY_EXTI0_Pin LSM6DSL_INT1_EXTI11_Pin ARD_D2_Pin HTS221_DRDY_EXTI15_Pin
                           PMOD_IRQ_EXTI12_Pin */
  GPIO_InitStruct.Pin = LPS22HB_INT_DRDY_EXTI0_Pin|LSM6DSL_INT1_EXTI11_Pin|ARD_D2_Pin|HTS221_DRDY_EXTI15_Pin
                          |PMOD_IRQ_EXTI12_Pin;
  GPIO_InitStruct.Mode = GPIO_MODE_IT_RISING;
  GPIO_InitStruct.Pull = GPIO_NOPULL;
  HAL_GPIO_Init(GPIOD, &GPIO_InitStruct);

  /*Configure GPIO pins : USB_OTG_FS_PWR_EN_Pin SPBTLE_RF_SPI3_CSN_Pin PMOD_RESET_Pin STSAFE_A100_RESET_Pin */
  GPIO_InitStruct.Pin = USB_OTG_FS_PWR_EN_Pin|SPBTLE_RF_SPI3_CSN_Pin|PMOD_RESET_Pin|STSAFE_A100_RESET_Pin;
  GPIO_InitStruct.Mode = GPIO_MODE_OUTPUT_PP;
  GPIO_InitStruct.Pull = GPIO_NOPULL;
  GPIO_InitStruct.Speed = GPIO_SPEED_FREQ_LOW;
  HAL_GPIO_Init(GPIOD, &GPIO_InitStruct);

  /*Configure GPIO pins : VL53L0X_XSHUT_Pin LED3_WIFI__LED4_BLE_Pin */
  GPIO_InitStruct.Pin = VL53L0X_XSHUT_Pin|LED3_WIFI__LED4_BLE_Pin;
  GPIO_InitStruct.Mode = GPIO_MODE_OUTPUT_PP;
  GPIO_InitStruct.Pull = GPIO_NOPULL;
  GPIO_InitStruct.Speed = GPIO_SPEED_FREQ_LOW;
  HAL_GPIO_Init(GPIOC, &GPIO_InitStruct);

  /*Configure GPIO pins : VL53L0X_GPIO1_EXTI7_Pin LSM3MDL_DRDY_EXTI8_Pin */
  GPIO_InitStruct.Pin = VL53L0X_GPIO1_EXTI7_Pin|LSM3MDL_DRDY_EXTI8_Pin;
  GPIO_InitStruct.Mode = GPIO_MODE_IT_RISING;
  GPIO_InitStruct.Pull = GPIO_NOPULL;
  HAL_GPIO_Init(GPIOC, &GPIO_InitStruct);

  /*Configure GPIO pin : PMOD_SPI2_SCK_Pin */
  GPIO_InitStruct.Pin = PMOD_SPI2_SCK_Pin;
  GPIO_InitStruct.Mode = GPIO_MODE_AF_PP;
  GPIO_InitStruct.Pull = GPIO_NOPULL;
  GPIO_InitStruct.Speed = GPIO_SPEED_FREQ_VERY_HIGH;
  GPIO_InitStruct.Alternate = GPIO_AF5_SPI2;
  HAL_GPIO_Init(PMOD_SPI2_SCK_GPIO_Port, &GPIO_InitStruct);

  /*Configure GPIO pins : PMOD_UART2_CTS_Pin PMOD_UART2_RTS_Pin PMOD_UART2_TX_Pin PMOD_UART2_RX_Pin */
  GPIO_InitStruct.Pin = PMOD_UART2_CTS_Pin|PMOD_UART2_RTS_Pin|PMOD_UART2_TX_Pin|PMOD_UART2_RX_Pin;
  GPIO_InitStruct.Mode = GPIO_MODE_AF_PP;
  GPIO_InitStruct.Pull = GPIO_NOPULL;
  GPIO_InitStruct.Speed = GPIO_SPEED_FREQ_VERY_HIGH;
  GPIO_InitStruct.Alternate = GPIO_AF7_USART2;
  HAL_GPIO_Init(GPIOD, &GPIO_InitStruct);

  /*Configure GPIO pins : ARD_D15_Pin ARD_D14_Pin */
  GPIO_InitStruct.Pin = ARD_D15_Pin|ARD_D14_Pin;
  GPIO_InitStruct.Mode = GPIO_MODE_AF_OD;
  GPIO_InitStruct.Pull = GPIO_NOPULL;
  GPIO_InitStruct.Speed = GPIO_SPEED_FREQ_VERY_HIGH;
  GPIO_InitStruct.Alternate = GPIO_AF4_I2C1;
  HAL_GPIO_Init(GPIOB, &GPIO_InitStruct);

  /* EXTI interrupt init*/
  HAL_NVIC_SetPriority(EXTI9_5_IRQn, 0, 0);
  HAL_NVIC_EnableIRQ(EXTI9_5_IRQn);

  HAL_NVIC_SetPriority(EXTI15_10_IRQn, 0, 0);
  HAL_NVIC_EnableIRQ(EXTI15_10_IRQn);

}

/* USER CODE BEGIN 4 */
void HAL_I2C_MasterTxCpltCallback(I2C_HandleTypeDef *hi2c)
{
	HAL_GPIO_TogglePin(LED2_GPIO_Port, LED2_Pin);
	irq_complete = 1;
}

void HAL_I2C_MasterRxCpltCallback(I2C_HandleTypeDef *hi2c)
{
	char buf[100];
	if(status_flag == 1)
	{
		status_flag = 0;
		snprintf(buf, sizeof(buf), "(Status register receive) HAL_I2C_Master_Receive_Callback: data: 0x%02x\r\n", status_data);
		HAL_UART_Transmit(&huart1, (uint8_t*)buf, strlen(buf), 1000);
	}
	else
	{
		snprintf(buf, sizeof(buf), "(Auto increment) HAL_I2C_Master_Receive_Callback: data: 0x%04x\r\n", data);
		HAL_UART_Transmit(&huart1, (uint8_t*)buf, strlen(buf), 1000);
	}
	irq_complete = 1;
}

void HAL_ADC_ConvCpltCallback(ADC_HandleTypeDef *hadc)
{
	uint16_t value = HAL_ADC_GetValue(&hadc1);
	float voltage = value * (3.3 / 4096);

	// Send value to console
	char buf[100];
    snprintf(buf, sizeof(buf), "ARD-A0: raw: %u, volts: %f\r\n", value, voltage);
    HAL_UART_Transmit(&huart1, (uint8_t*)buf, strlen(buf), 1000);
    adc_irq_complete = 1;
}

/* USER CODE END 4 */

void Error_Handler(void)
{
  __disable_irq();
  while (1)
  {
  }
}
